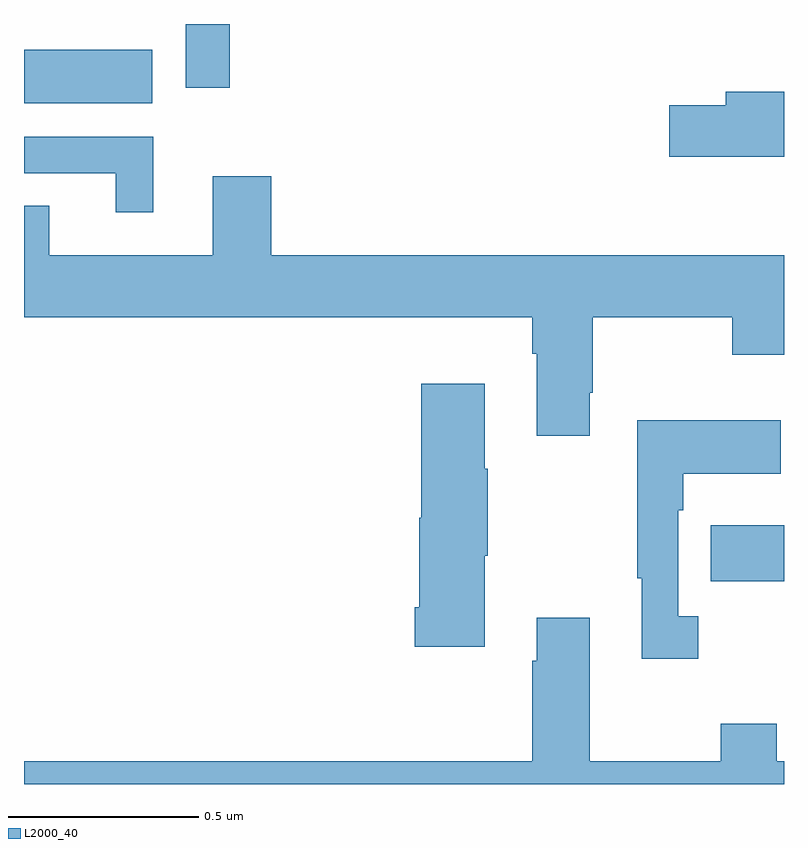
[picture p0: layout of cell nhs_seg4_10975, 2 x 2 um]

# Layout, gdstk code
import gdstk
lib = gdstk.Library(unit=1e-6, precision=1e-09)
def R(c, l, rs):  # rectangles x0, y0, x1, y1
    for r in rs: c.add(gdstk.rectangle(r[:2], r[2:], *l))
def P(c, l, *ps):  # polygons
    for p in ps: c.add(gdstk.Polygon(p, *l))
L2000_40 = (2000, 40)

nhs_seg4_10975 = lib.new_cell('nhs_seg4_10975')
R(nhs_seg4_10975, L2000_40, [(247.807,821.434,248,821.581), (246,822.692,246.337,822.832), (246.426,822.732,246.542,822.9)])
P(nhs_seg4_10975, L2000_40, [(248,822.722),(247.847,822.722),(247.847,822.686),(247.698,822.686),(247.698,822.551),(248,822.551)],
  [(246.34,822.603),(246,822.603),(246,822.507),(246.242,822.507),(246.242,822.405),(246.34,822.405)],
  [(247.489,821.929),(247.497,821.929),(247.497,822.128),(247.864,822.128),(247.864,822.029),(248,822.029),(248,822.292),(246.65,822.292),(246.65,822.499),(246.497,822.499),(246.497,822.292),(246.067,822.292),(246.067,822.422),(246,822.422),(246,822.128),(247.337,822.128),(247.337,822.032),(247.349,822.032),(247.349,821.817),(247.489,821.817)],
  [(247.213,821.501),(247.221,821.501),(247.221,821.729),(247.213,821.729),(247.213,821.953),(247.046,821.953),(247.046,821.601),(247.04,821.601),(247.04,821.365),(247.028,821.365),(247.028,821.261),(247.213,821.261)],
  [(247.774,821.342),(247.722,821.342),(247.722,821.621),(247.735,821.621),(247.735,821.717),(247.991,821.717),(247.991,821.857),(247.614,821.857),(247.614,821.441),(247.625,821.441),(247.625,821.229),(247.774,821.229)],
  [(248,820.96),(247.981,820.96),(247.981,821.059),(247.834,821.059),(247.834,820.96),(247.489,820.96),(247.489,821.338),(247.349,821.338),(247.349,821.225),(247.337,821.225),(247.337,820.96),(246,820.96),(246,820.9),(248,820.9)])

lib.write_gds('nhs_seg4_10975.gds')
